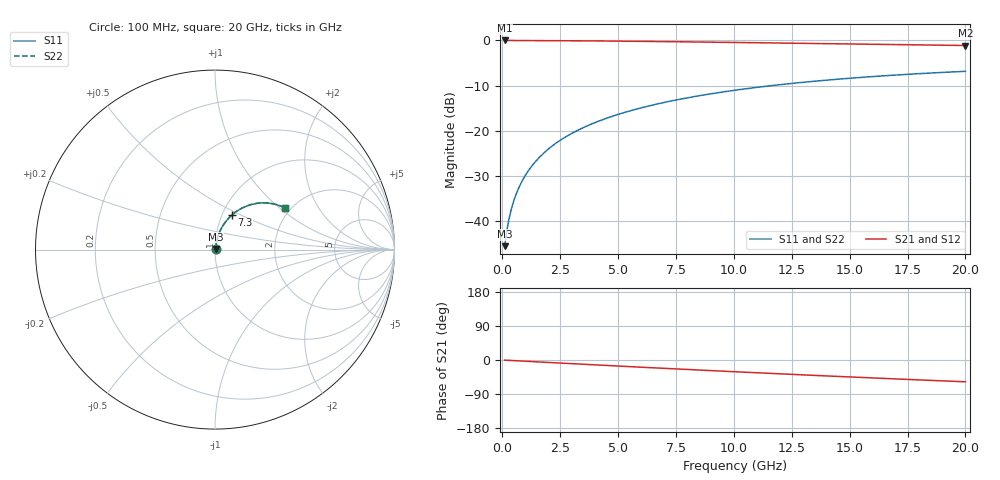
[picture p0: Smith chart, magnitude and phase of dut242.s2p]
! Touchstone file exported from HFSS 2026.1.0
!  File:  C:/ffzhzh/LocalFiles/Ansys_Project_Files/temp_train_BSMRDL_242_1782988459_45328.aedt
!  Generated:  06:35:39 PM Jul  2, 2026
!  Design:  BSMRDL
!  Project:  temp_train_BSMRDL_242_1782988459_45328
! Variables:
!  h_bsmrdl = 4.65um
!  h_ox = 20um
!  h_rdl = 5um
!  h_sub = 80um
!  h_tmrdl = 5um
!  h_tsv = 80um
!  h_via = 3um
!  l_bsmrdl = 922.92um
!  l_sub = 1322.92um
!  l_tmrdl = 200um
!  m_sub = 200um
!  pitch = 40.91um
!  r_tsv = 6um
!  s_tmrdl = 10um
!  w_bsmrdl = 18um
!  w_sub = 500um
!  w_tmrdl = 12um
!  x_tsv_center1 = 206um
!  x_tsv_center2 = 1146.92um
!  x_tsv_center3 = 1358.92um
!  x_tsv_center4 = 2299.84um
!  x_tsv_center5 = 2511.84um
!  x_tsv_center6 = 3452.76um
# GHz S MA R 50.000000
! Terminal data exported
! Port[1] = BSM_RDL1_1_T1
! Port[2] = BSM_RDL1_1_T2
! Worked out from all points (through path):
!   200 points, 100 MHz to 20 GHz, reference 50 ohm
!   highest |S21| = -0.04 dB at 100 MHz (marker M1); lowest = -1.2 dB at 20 GHz (marker M2)
!   group delay of S21, straight-line fit = 7.98 ps
!   lowest |S11| = -45.5 dB at 100 MHz (marker M3), VSWR 1.01, Z = 50.4 + j0.346 ohm
!   |S11| at or under -10 dB: start of sweep to 11.66 GHz
!   |S22| runs from -45.5 to -6.9 dB; largest |S21 - S12| = 4.8e-15
!   S11 on the Smith chart (normalised r, x): 100 MHz: 1.01, +0.01; 7.3 GHz: 1.11, +0.45; 20 GHz: 1.87, +1.09
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0.1  0.005309 40.3  0.996 -0.3  0.996 -0.3  0.005309 40.3
! Gamma 0 0 0 0
! Port Impedance 50 0 50 0
0.2  0.008001 57.4  0.9957 -0.7  0.9957 -0.7  0.008001 57.4
0.3  0.01094 65.1  0.9955 -1.0  0.9955 -1.0  0.01094 65.1
0.4  0.01393 69.4  0.9953 -1.3  0.9953 -1.3  0.01393 69.4
0.5  0.01695 72.2  0.9952 -1.7  0.9952 -1.7  0.01695 72.2
0.6  0.01998 74.1  0.995 -2.0  0.995 -2.0  0.01998 74.1
0.8  0.02611 76.4  0.9947 -2.6  0.9947 -2.6  0.02611 76.4
1.1  0.03538 78.0  0.9942 -3.6  0.9942 -3.6  0.03538 78.0
1.5  0.04777 78.6  0.9934 -4.9  0.9934 -4.9  0.04777 78.6
1.8  0.05704 78.4  0.9927 -5.9  0.9927 -5.9  0.05704 78.4
2.1  0.06626 78.0  0.9919 -6.8  0.9919 -6.8  0.06626 78.0
2.7  0.08454 76.8  0.9899 -8.7  0.9899 -8.7  0.08454 76.8
3.5  0.1085 74.8  0.9867 -11.3  0.9867 -11.3  0.1085 74.8
4.2  0.1289 72.9  0.9835 -13.5  0.9835 -13.5  0.1289 72.9
5  0.1517 70.6  0.9793 -16.0  0.9793 -16.0  0.1517 70.6
6.8  0.2007 65.4  0.9688 -21.5  0.9688 -21.5  0.2007 65.5
7.3  0.2137 64.0  0.9657 -23.0  0.9657 -23.0  0.2137 64.1
8.6  0.2464 60.3  0.957 -26.8  0.957 -26.8  0.2464 60.4
10.1  0.2819 56.2  0.9464 -31.2  0.9464 -31.2  0.2819 56.2
13.4  0.3514 47.3  0.922 -40.4  0.922 -40.4  0.3514 47.4
16.7  0.4087 38.8  0.8978 -49.2  0.8978 -49.2  0.4087 38.9
20  0.4541 30.6  0.8758 -57.5  0.8758 -57.5  0.4541 30.7
